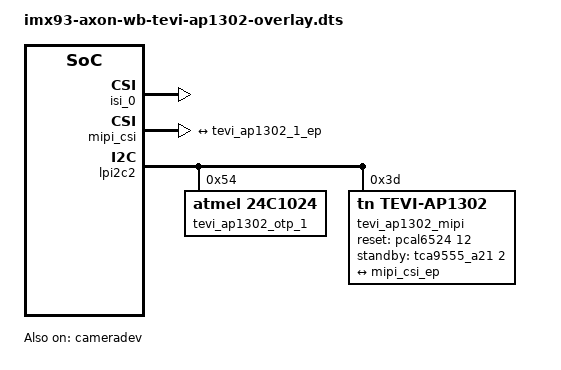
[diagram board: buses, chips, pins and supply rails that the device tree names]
// SPDX-License-Identifier: (GPL-2.0+ OR MIT)
/*
 * Copyright 2020 TechNexion Ltd.
 *
 * Author: Richard Hu <richard.hu@technexion.com>
 *         Ray Chang <ray.chang@technexion.com>
 *
 */

/dts-v1/;
/plugin/;

#include <dt-bindings/interrupt-controller/irq.h>
#include <dt-bindings/clock/imx8mm-clock.h>
#include <dt-bindings/gpio/gpio.h>

/ {
	fragment@0 {
		target = <&cameradev>;
		__overlay__ {
			status = "okay";
		};
	};

	fragment@1 {
		target = <&isi_0>;
		__overlay__ {
			status = "okay";

			cap_device {
				status = "okay";
			};
		};
	};

	fragment@2 {
		target = <&mipi_csi>;
		__overlay__ {
			#address-cells = <1>;
			#size-cells = <0>;
			status = "okay";

			port@0 {
				reg = <0>;
				mipi_csi_ep: endpoint {
					remote-endpoint = <&tevi_ap1302_1_ep>;
					data-lanes = <2>;
					cfg-clk-range = <28>;
					hs-clk-range = <0x1a>;
					bus-type = <4>;
				};
			};
		};
	};

	fragment@3 {
		target = <&lpi2c2>;
		__overlay__ {
			#address-cells = <1>;
			#size-cells = <0>;
			status = "okay";

			tevi_ap1302_otp_1: tevi_ap1302_otp@54 {
				compatible = "atmel,24c1024";
				reg = <0x54>;
				pagesize = <256>;
				//read-only;
			};

			tevi_ap1302_mipi: tevi_ap1302_mipi@3d {
				compatible = "tn,tevi-ap1302";

				reg = <0x3d>;

				// host-power-gpios = <&pca9554bs_a3b 5 GPIO_ACTIVE_LOW>;
				reset-gpios = <&pcal6524 12 GPIO_ACTIVE_HIGH>;
				// device-power-gpios = <&tca9555_a21 0 GPIO_ACTIVE_HIGH>;
				standby-gpios = <&tca9555_a21 2 GPIO_ACTIVE_HIGH>;
				nvmem = <&tevi_ap1302_otp_1>;
				nvmem-names = "calib-data";
				data-lanes = <2>;
				continuous-clock = <0>;
				// supports-over-4k-res;
				status = "okay";

				port {
					tevi_ap1302_1_ep: endpoint {
						remote-endpoint = <&mipi_csi_ep>;
					};
				};
			};
		};
	};
};
